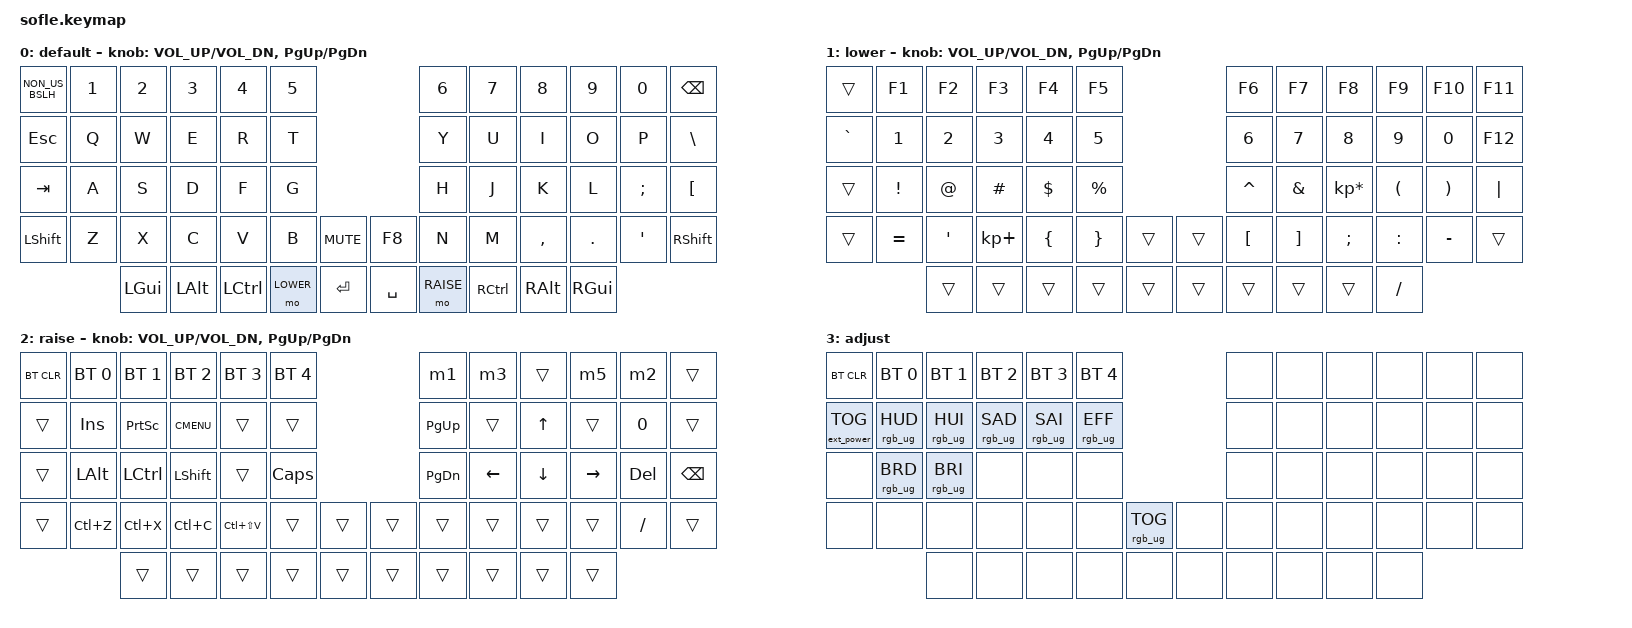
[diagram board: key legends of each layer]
/*
 * Copyright (c) 2020 The ZMK Contributors
 *
 * SPDX-License-Identifier: MIT
 */

#include <behaviors.dtsi>
#include <dt-bindings/zmk/bt.h>
#include <dt-bindings/zmk/ext_power.h>
#include <dt-bindings/zmk/keys.h>
#include <dt-bindings/zmk/rgb.h>

#define BASE 0
#define LOWER 1
#define RAISE 2
#define ADJUST 3

/ {
    conditional_layers {
        compatible = "zmk,conditional-layers";

        adjust_layer {
            if-layers = <LOWER RAISE>;
            then-layer = <ADJUST>;
        };
    };

    macros {
        m1: m1 {
            compatible = "zmk,behavior-macro";
            #binding-cells = <0>;
            bindings = <&kp ENTER &kp LS(S) &kp A &kp L &kp U &kp T &kp A &kp C &kp I &kp O &kp N &kp S &kp COMMA>;
            label = "M1";
        };

        m2: m2 {
            compatible = "zmk,behavior-macro";
            #binding-cells = <0>;
            bindings = <&kp LS(S) &kp I &kp N &kp R &kp E &kp M &kp E &kp D &kp I &kp O &kp N2 &kp N6 &kp RA(N2) &kp LS(FSLH)>;
            label = "M2";
        };

        m3: m3 {
            compatible = "zmk,behavior-macro";
            #binding-cells = <0>;
            bindings = <&kp RC(COMMA) &kp SPACE &kp LC(LS(DOT))>;
            label = "M3";
        };

        m4: m4 {
            compatible = "zmk,behavior-macro";
            #binding-cells = <0>;
            bindings = <&kp F8>;
            label = "M4";
        };

        m5: m5 {
            compatible = "zmk,behavior-macro";
            #binding-cells = <0>;
            bindings = <&kp A &kp G &kp O &kp M &kp E &kp Z &kp P &kp E &kp R &kp RA(N2) &kp S &kp I &kp R &kp T &kp DOT &kp C &kp O &kp M>;
            label = "M5";
        };
    };

    combos {
        compatible = "zmk,combos";

        m4 {
            bindings = <&m4>;
            key-positions = <52 45>;
            layers = <0>;
        };
    };

    keymap {
        compatible = "zmk,keymap";

        default_layer {
            display-name = "default";

            bindings = <
&kp NON_US_BSLH  &kp N1  &kp N2    &kp N3    &kp N4     &kp N5                              &kp N6     &kp N7     &kp N8     &kp N9    &kp N0    &kp BACKSPACE
&kp ESC          &kp Q   &kp W     &kp E     &kp R      &kp T                               &kp Y      &kp U      &kp I      &kp O     &kp P     &kp BACKSLASH
&kp TAB          &kp A   &kp S     &kp D     &kp F      &kp G                               &kp H      &kp J      &kp K      &kp L     &kp SEMI  &kp LEFT_BRACKET
&kp LSHFT        &kp Z   &kp X     &kp C     &kp V      &kp B      &kp C_MUTE    &kp F8     &kp N      &kp M      &kp COMMA  &kp DOT   &kp SQT   &kp RSHFT
                         &kp LGUI  &kp LALT  &kp LCTRL  &mo LOWER  &kp ENTER     &kp SPACE  &mo RAISE  &kp RCTRL  &kp RALT   &kp RGUI
            >;

            sensor-bindings = <&inc_dec_kp C_VOL_UP C_VOL_DN &inc_dec_kp PG_UP PG_DN>;
        };

        lower_layer {
            display-name = "lower";

            bindings = <
&trans     &kp F1     &kp F2          &kp F3       &kp F4          &kp F5                             &kp F6     &kp F7    &kp F8           &kp F9                &kp F10                &kp F11
&kp GRAVE  &kp N1     &kp N2          &kp N3       &kp N4          &kp N5                             &kp N6     &kp N7    &kp N8           &kp N9                &kp N0                 &kp F12
&trans     &kp EXCL   &kp AT_SIGN     &kp HASH     &kp DLLR        &kp PRCNT                          &kp CARET  &kp AMPS  &kp KP_MULTIPLY  &kp LEFT_PARENTHESIS  &kp RIGHT_PARENTHESIS  &kp PIPE
&trans     &kp EQUAL  &kp APOSTROPHE  &kp KP_PLUS  &kp LEFT_BRACE  &kp RIGHT_BRACE  &trans    &trans  &kp LBKT   &kp RBKT  &kp SEMI         &kp COLON             &kp MINUS              &trans
                      &trans          &trans       &trans          &trans           &trans    &trans  &trans     &trans    &trans           &kp SLASH
            >;

            sensor-bindings = <&inc_dec_kp C_VOL_UP C_VOL_DN &inc_dec_kp PG_UP PG_DN>;
        };

        raise_layer {
            display-name = "raise";

            bindings = <
&bt BT_CLR  &bt BT_SEL 0  &bt BT_SEL 1  &bt BT_SEL 2  &bt BT_SEL 3   &bt BT_SEL 4                    &m1        &m3       &trans    &m5        &m2        &trans
&trans      &kp INS       &kp PSCRN     &kp K_CMENU   &trans         &trans                          &kp PG_UP  &trans    &kp UP    &trans     &kp N0     &trans
&trans      &kp LALT      &kp LCTRL     &kp LSHFT     &trans         &kp CLCK                        &kp PG_DN  &kp LEFT  &kp DOWN  &kp RIGHT  &kp DEL    &kp BSPC
&trans      &kp LC(Z)     &kp LC(X)     &kp LC(C)     &kp LC(LS(V))  &trans        &trans    &trans  &trans     &trans    &trans    &trans     &kp SLASH  &trans
                          &trans        &trans        &trans         &trans        &trans    &trans  &trans     &trans    &trans    &trans
            >;

            sensor-bindings = <&inc_dec_kp C_VOL_UP C_VOL_DN &inc_dec_kp PG_UP PG_DN>;
        };

        adjust_layer {
            display-name = "adjust";

            bindings = <
&bt BT_CLR         &bt BT_SEL 0     &bt BT_SEL 1     &bt BT_SEL 2     &bt BT_SEL 3     &bt BT_SEL 4                               &none  &none  &none  &none  &none  &none
&ext_power EP_TOG  &rgb_ug RGB_HUD  &rgb_ug RGB_HUI  &rgb_ug RGB_SAD  &rgb_ug RGB_SAI  &rgb_ug RGB_EFF                            &none  &none  &none  &none  &none  &none
&none              &rgb_ug RGB_BRD  &rgb_ug RGB_BRI  &none            &none            &none                                      &none  &none  &none  &none  &none  &none
&none              &none            &none            &none            &none            &none            &rgb_ug RGB_TOG    &none  &none  &none  &none  &none  &none  &none
                                    &none            &none            &none            &none            &none              &none  &none  &none  &none  &none
            >;
        };
    };
};
